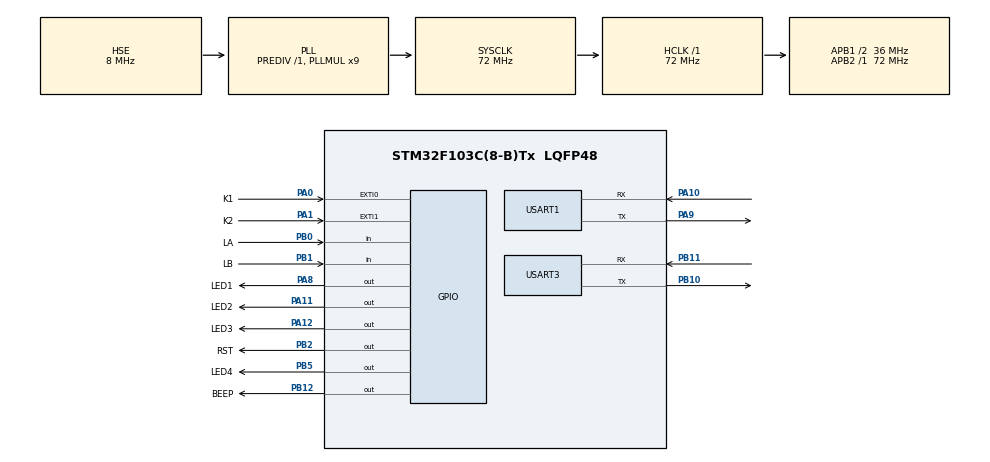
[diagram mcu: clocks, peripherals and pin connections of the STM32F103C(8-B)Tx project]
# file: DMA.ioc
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Dma.MEMTOMEM.2.Direction=DMA_MEMORY_TO_MEMORY
Dma.MEMTOMEM.2.Instance=DMA1_Channel1
Dma.MEMTOMEM.2.MemDataAlignment=DMA_MDATAALIGN_BYTE
Dma.MEMTOMEM.2.MemInc=DMA_MINC_ENABLE
Dma.MEMTOMEM.2.Mode=DMA_NORMAL
Dma.MEMTOMEM.2.PeriphDataAlignment=DMA_PDATAALIGN_BYTE
Dma.MEMTOMEM.2.PeriphInc=DMA_PINC_DISABLE
Dma.MEMTOMEM.2.Priority=DMA_PRIORITY_MEDIUM
Dma.Request0=USART1_RX
Dma.Request1=USART1_TX
Dma.Request2=MEMTOMEM
Dma.Request3=USART3_RX
Dma.Request4=USART3_TX
Dma.USART1_RX.0.Direction=DMA_PERIPH_TO_MEMORY
Dma.USART1_RX.0.Instance=DMA1_Channel5
Dma.USART1_RX.0.MemDataAlignment=DMA_MDATAALIGN_BYTE
Dma.USART1_RX.0.MemInc=DMA_MINC_ENABLE
Dma.USART1_RX.0.Mode=DMA_CIRCULAR
Dma.USART1_RX.0.PeriphDataAlignment=DMA_PDATAALIGN_BYTE
Dma.USART1_RX.0.PeriphInc=DMA_PINC_DISABLE
Dma.USART1_RX.0.Priority=DMA_PRIORITY_MEDIUM
Dma.USART1_TX.1.Direction=DMA_MEMORY_TO_PERIPH
Dma.USART1_TX.1.Instance=DMA1_Channel4
Dma.USART1_TX.1.MemDataAlignment=DMA_MDATAALIGN_BYTE
Dma.USART1_TX.1.MemInc=DMA_MINC_ENABLE
Dma.USART1_TX.1.Mode=DMA_NORMAL
Dma.USART1_TX.1.PeriphDataAlignment=DMA_PDATAALIGN_BYTE
Dma.USART1_TX.1.PeriphInc=DMA_PINC_DISABLE
Dma.USART1_TX.1.Priority=DMA_PRIORITY_MEDIUM
Dma.USART3_RX.3.Direction=DMA_PERIPH_TO_MEMORY
Dma.USART3_RX.3.Instance=DMA1_Channel3
Dma.USART3_RX.3.MemDataAlignment=DMA_MDATAALIGN_BYTE
Dma.USART3_RX.3.MemInc=DMA_MINC_ENABLE
Dma.USART3_RX.3.Mode=DMA_NORMAL
Dma.USART3_RX.3.PeriphDataAlignment=DMA_PDATAALIGN_BYTE
Dma.USART3_RX.3.PeriphInc=DMA_PINC_DISABLE
Dma.USART3_RX.3.Priority=DMA_PRIORITY_HIGH
Dma.USART3_TX.4.Direction=DMA_MEMORY_TO_PERIPH
Dma.USART3_TX.4.Instance=DMA1_Channel2
Dma.USART3_TX.4.MemDataAlignment=DMA_MDATAALIGN_BYTE
Dma.USART3_TX.4.MemInc=DMA_MINC_ENABLE
Dma.USART3_TX.4.Mode=DMA_NORMAL
Dma.USART3_TX.4.PeriphDataAlignment=DMA_PDATAALIGN_BYTE
Dma.USART3_TX.4.PeriphInc=DMA_PINC_DISABLE
Dma.USART3_TX.4.Priority=DMA_PRIORITY_HIGH
Mcu.Family=STM32F1
Mcu.Name=STM32F103C(8-B)Tx
Mcu.Package=LQFP48
NVIC.DMA1_Channel1_IRQn=true\:0\:3\:false\:false\:true\:true\:true
NVIC.DMA1_Channel2_IRQn=true\:0\:1\:false\:false\:true\:false\:true
NVIC.DMA1_Channel3_IRQn=true\:0\:1\:false\:false\:true\:false\:true
NVIC.DMA1_Channel4_IRQn=true\:0\:1\:false\:false\:true\:false\:true
NVIC.DMA1_Channel5_IRQn=true\:0\:0\:false\:false\:true\:false\:true
NVIC.PriorityGroup=NVIC_PRIORITYGROUP_2
NVIC.USART1_IRQn=true\:0\:2\:false\:false\:true\:true\:true
NVIC.USART3_IRQn=true\:0\:1\:false\:false\:true\:true\:true
PA0-WKUP.GPIO_Label=K1
PA0-WKUP.GPIO_ModeDefaultEXTI=GPIO_MODE_IT_FALLING
PA0-WKUP.GPIO_PuPd=GPIO_PULLDOWN
PA0-WKUP.Signal=GPXTI0
PA1.GPIO_Label=K2
PA1.GPIO_ModeDefaultEXTI=GPIO_MODE_IT_FALLING
PA1.GPIO_PuPd=GPIO_PULLUP
PA1.Signal=GPXTI1
PA10.Mode=Asynchronous
PA10.Signal=USART1_RX
PA11.GPIO_Label=LED2
PA11.GPIO_Speed=GPIO_SPEED_FREQ_HIGH
PA11.PinState=GPIO_PIN_SET
PA11.Signal=GPIO_Output
PA12.GPIO_Label=LED3
PA12.GPIO_Speed=GPIO_SPEED_FREQ_HIGH
PA12.PinState=GPIO_PIN_SET
PA12.Signal=GPIO_Output
PA8.GPIO_Label=LED1
PA8.GPIO_Speed=GPIO_SPEED_FREQ_HIGH
PA8.PinState=GPIO_PIN_SET
PA8.Signal=GPIO_Output
PA9.Mode=Asynchronous
PA9.Signal=USART1_TX
PB0.GPIO_Label=LA
PB0.GPIO_PuPd=GPIO_PULLUP
PB0.Signal=GPIO_Input
PB1.GPIO_Label=LB
PB1.GPIO_PuPd=GPIO_PULLUP
PB1.Signal=GPIO_Input
PB10.Mode=Asynchronous
PB10.Signal=USART3_TX
PB11.Mode=Asynchronous
PB11.Signal=USART3_RX
PB12.GPIO_Label=BEEP
PB12.GPIO_Speed=GPIO_SPEED_FREQ_HIGH
PB12.Signal=GPIO_Output
PB2.GPIO_Label=RST
PB2.GPIO_ModeDefaultOutputPP=GPIO_MODE_OUTPUT_PP
PB2.GPIO_Speed=GPIO_SPEED_FREQ_HIGH
PB2.Signal=GPIO_Output
PB5.GPIO_Label=LED4
PB5.GPIO_Speed=GPIO_SPEED_FREQ_HIGH
PB5.PinState=GPIO_PIN_SET
PB5.Signal=GPIO_Output
PD0-OSC_IN.Mode=HSE-External-Oscillator
PD0-OSC_IN.Signal=RCC_OSC_IN
PD1-OSC_OUT.Mode=HSE-External-Oscillator
PD1-OSC_OUT.Signal=RCC_OSC_OUT
ProjectManager.HeapSize=0x200
ProjectManager.StackSize=0x400
ProjectManager.TargetToolchain=MDK-ARM V5.32
RCC.AHBFreq_Value=72000000
RCC.APB1CLKDivider=RCC_HCLK_DIV2
RCC.APB1Freq_Value=36000000
RCC.APB1TimFreq_Value=72000000
RCC.APB2Freq_Value=72000000
RCC.APB2TimFreq_Value=72000000
RCC.HCLKFreq_Value=72000000
RCC.PLLMUL=RCC_PLL_MUL9
RCC.PLLSourceVirtual=RCC_PLLSOURCE_HSE
RCC.SYSCLKFreq_VALUE=72000000
RCC.SYSCLKSource=RCC_SYSCLKSOURCE_PLLCLK
RCC.USBFreq_Value=72000000
USART1.VirtualMode=VM_ASYNC
USART3.VirtualMode=VM_ASYNC
VP_SYS_VS_ND.Mode=No_Debug
board=custom

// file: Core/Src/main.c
/* USER CODE BEGIN Header */
/**
  ******************************************************************************
  * @file           : main.c
  * @brief          : Main program body
  ******************************************************************************
  * @attention
  *
  * Copyright (c) 2022 STMicroelectronics.
  * All rights reserved.
  *
  * This software is licensed under terms that can be found in the LICENSE file
  * in the root directory of this software component.
  * If no LICENSE file comes with this software, it is provided AS-IS.
  *
  ******************************************************************************
  */
/* USER CODE END Header */
#include "main.h"
#include "dma.h"
//#include "i2c.h"
#include "usart.h"
#include "gpio.h"

/* USER CODE BEGIN PV */
uint8_t pv[] = "xiaojiu\r\n";
uint8_t pv1[] = "XIAOJIU\r\n";

/* USER CODE END PV */

void SystemClock_Config(void);

int main(void)
{

  /* MCU Configuration--------------------------------------------------------*/

  /* Reset of all peripherals, Initializes the Flash interface and the Systick. */
  HAL_Init();

  /* Configure the system clock */
  SystemClock_Config();

  /* Initialize all configured peripherals */
  MX_GPIO_Init();
  MX_DMA_Init();
  MX_USART1_UART_Init();
  MX_USART3_UART_Init();
  //MX_I2C1_Init();
  /* USER CODE BEGIN 2 */
#if own
  HAL_UART_Receive_IT(&huart1, (uint8_t *)&aRxBuffer, 1);
#else
  HAL_UART_Receive_DMA(&huart1, DMA_RX, DMA_RX_CNT);
#endif
  HAL_UART_Receive_IT(&huart3, (uint8_t *)&Usart3_Rx, 1);
  /* USER CODE END 2 */

  /* Infinite loop */
  while (1)
  {

    /* USER CODE BEGIN 3 */
#if own
    // HAL_UART_Transmit(&huart1, pv, sizeof(pv), 0xffff);
    // HAL_Delay(1000);

    HAL_Delay(1000);
    HAL_Delay(1000);
    HAL_Delay(1000);
    HAL_Delay(1000);
    HAL_Delay(1000);
    HAL_Delay(1000);
#else
    HAL_UART_Transmit_DMA(&huart1, pv1, sizeof(pv1));
    HAL_Delay(1000);
#endif
  }
  /* USER CODE END 3 */
}

void SystemClock_Config(void)
{
  RCC_OscInitTypeDef RCC_OscInitStruct = {0};
  RCC_ClkInitTypeDef RCC_ClkInitStruct = {0};

  /** Initializes the RCC Oscillators according to the specified parameters
  * in the RCC_OscInitTypeDef structure.
  */
  RCC_OscInitStruct.OscillatorType = RCC_OSCILLATORTYPE_HSE;
  RCC_OscInitStruct.HSEState = RCC_HSE_ON;
  RCC_OscInitStruct.HSEPredivValue = RCC_HSE_PREDIV_DIV1;
  RCC_OscInitStruct.HSIState = RCC_HSI_ON;
  RCC_OscInitStruct.PLL.PLLState = RCC_PLL_ON;
  RCC_OscInitStruct.PLL.PLLSource = RCC_PLLSOURCE_HSE;
  RCC_OscInitStruct.PLL.PLLMUL = RCC_PLL_MUL9;
  if (HAL_RCC_OscConfig(&RCC_OscInitStruct) != HAL_OK)
  {
    Error_Handler();
  }
  /** Initializes the CPU, AHB and APB buses clocks
  */
  RCC_ClkInitStruct.ClockType = RCC_CLOCKTYPE_HCLK|RCC_CLOCKTYPE_SYSCLK
                              |RCC_CLOCKTYPE_PCLK1|RCC_CLOCKTYPE_PCLK2;
  RCC_ClkInitStruct.SYSCLKSource = RCC_SYSCLKSOURCE_PLLCLK;
  RCC_ClkInitStruct.AHBCLKDivider = RCC_SYSCLK_DIV1;
  RCC_ClkInitStruct.APB1CLKDivider = RCC_HCLK_DIV2;
  RCC_ClkInitStruct.APB2CLKDivider = RCC_HCLK_DIV1;

  if (HAL_RCC_ClockConfig(&RCC_ClkInitStruct, FLASH_LATENCY_2) != HAL_OK)
  {
    Error_Handler();
  }
}

void Error_Handler(void)
{
  __disable_irq();
  while (1)
  {
  }
}
